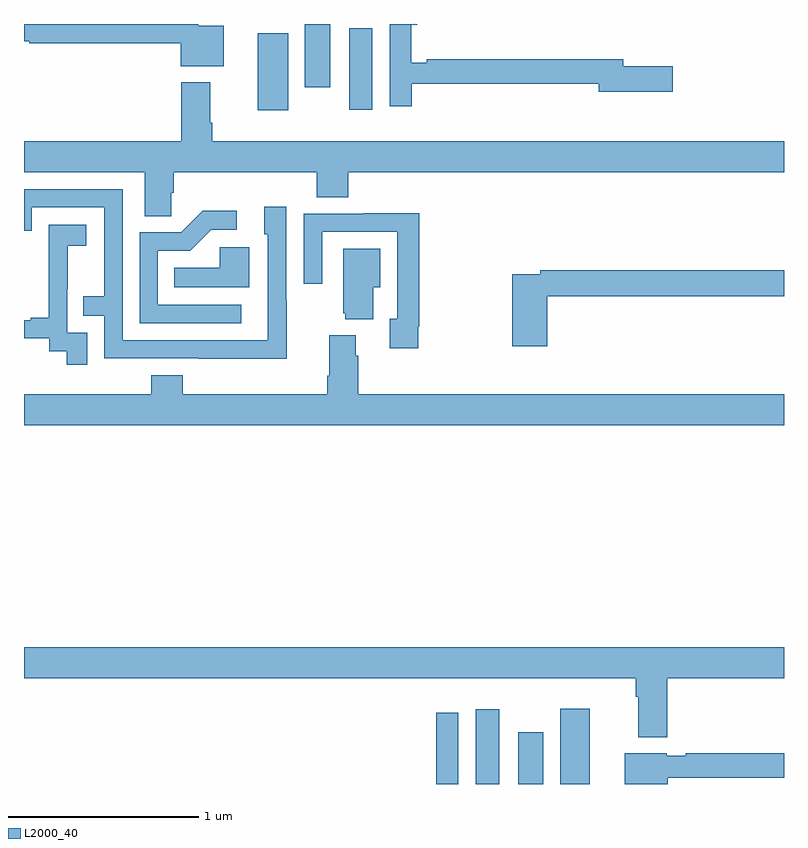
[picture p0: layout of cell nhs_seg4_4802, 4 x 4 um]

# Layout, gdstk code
import gdstk
lib = gdstk.Library(unit=1e-6, precision=1e-09)
def R(c, l, rs):  # rectangles x0, y0, x1, y1
    for r in rs: c.add(gdstk.rectangle(r[:2], r[2:], *l))
def P(c, l, *ps):  # polygons
    for p in ps: c.add(gdstk.Polygon(p, *l))
L2000_40 = (2000, 40)

nhs_seg4_4802 = lib.new_cell('nhs_seg4_4802')
R(nhs_seg4_4802, L2000_40, [(371.17,826.9,371.286,827.275), (371.378,826.9,371.5,827.293), (371.6,826.9,371.734,827.173), (371.822,826.9,371.977,827.296), (370.229,830.445,370.39,830.851), (370.712,830.448,370.834,830.878), (370.478,830.568,370.612,830.9)])
P(nhs_seg4_4802, L2000_40, [(370.051,830.89),(369.918,830.89),(369.918,830.9),(369,830.9),(369,830.808),(369.028,830.808),(369.028,830.8),(369.824,830.8),(369.824,830.678),(370.051,830.678)],
  [(371.042,830.586),(372.026,830.586),(372.026,830.543),(372.415,830.543),(372.415,830.678),(372.154,830.678),(372.154,830.714),(371.119,830.714),(371.119,830.696),(371.038,830.696),(371.038,830.897),(371.069,830.897),(371.069,830.9),(370.926,830.9),(370.926,830.466),(371.042,830.466)],
  [(369.774,830.011),(369.788,830.011),(369.788,830.12),(370.541,830.12),(370.541,829.987),(370.706,829.987),(370.706,830.12),(373,830.12),(373,830.284),(369.992,830.284),(369.992,830.38),(369.979,830.38),(369.979,830.593),(369.827,830.593),(369.827,830.284),(369,830.284),(369,830.12),(369.635,830.12),(369.635,829.888),(369.774,829.888)],
  [(370.383,829.445),(370.38,829.445),(370.38,829.939),(370.265,829.939),(370.265,829.794),(370.284,829.794),(370.284,829.49),(370.283,829.49),(370.283,829.236),(369.519,829.236),(369.519,830.031),(369,830.031),(369,829.812),(369.042,829.812),(369.042,829.935),(369.423,829.935),(369.423,829.466),(369.313,829.466),(369.313,829.365),(369.423,829.365),(369.423,829.14),(369.919,829.14),(369.919,829.139),(370.383,829.139)],
  [(370.144,829.422),(369.705,829.422),(369.705,829.707),(369.874,829.707),(369.985,829.818),(370.12,829.818),(370.12,829.916),(369.941,829.916),(369.828,829.803),(369.609,829.803),(369.609,829.326),(370.144,829.326)],
  [(371.074,829.306),(371.081,829.306),(371.081,829.904),(370.789,829.904),(370.789,829.902),(370.473,829.902),(370.473,829.533),(370.569,829.533),(370.569,829.806),(370.965,829.806),(370.965,829.35),(370.925,829.35),(370.925,829.194),(371.074,829.194)],
  [(369.333,829.275),(369.228,829.275),(369.228,829.505),(369.23,829.505),(369.23,829.733),(369.328,829.733),(369.328,829.843),(369.13,829.843),(369.13,829.637),(369.131,829.637),(369.131,829.354),(369.035,829.354),(369.035,829.341),(369,829.341),(369,829.245),(369.132,829.245),(369.132,829.177),(369.225,829.177),(369.225,829.107),(369.333,829.107)],
  [(370.186,829.726),(370.029,829.726),(370.029,829.618),(369.79,829.618),(369.79,829.514),(370.186,829.514)],
  [(370.837,829.514),(370.876,829.514),(370.876,829.717),(370.679,829.717),(370.679,829.377),(370.691,829.377),(370.691,829.346),(370.837,829.346)],
  [(371.753,829.468),(373,829.468),(373,829.604),(371.716,829.604),(371.716,829.584),(371.57,829.584),(371.57,829.203),(371.753,829.203)],
  [(373,828.952),(370.76,828.952),(370.76,829.154),(370.747,829.154),(370.747,829.261),(370.607,829.261),(370.607,829.048),(370.595,829.048),(370.595,828.952),(369.836,828.952),(369.836,829.051),(369.671,829.051),(369.671,828.952),(369,828.952),(369,828.788),(373,828.788)],
  [(372.386,827.456),(373,827.456),(373,827.62),(369,827.62),(369,827.456),(372.221,827.456),(372.221,827.36),(372.233,827.36),(372.233,827.147),(372.386,827.147)],
  [(372.388,826.933),(373,826.933),(373,827.062),(372.484,827.062),(372.484,827.049),(372.384,827.049),(372.384,827.062),(372.161,827.062),(372.161,826.9),(372.388,826.9)])

lib.write_gds('nhs_seg4_4802.gds')
